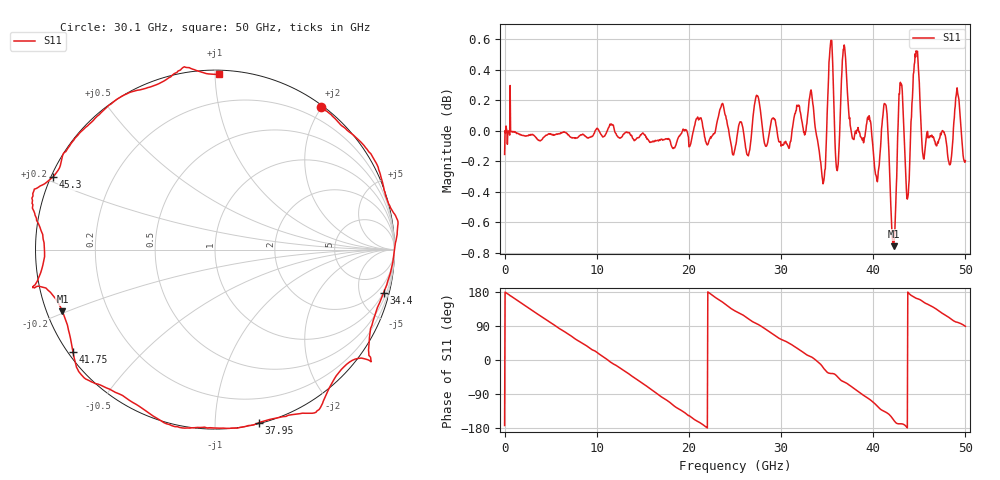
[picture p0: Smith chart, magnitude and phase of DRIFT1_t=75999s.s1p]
!Created with skrf (http://scikit-rf.org).
# Hz S RI R 50.0
!freq ReS11 ImS11
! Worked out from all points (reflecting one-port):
!   1001 points, 300 kHz to 50 GHz, reference 50 ohm
!   lowest |S11| = -0.8 dB at 42.2 GHz (marker M1), VSWR 22.99, Z = 2.26 - j9.71 ohm
!   phase of S11 starts at -173 deg and turns -818 deg over the sweep
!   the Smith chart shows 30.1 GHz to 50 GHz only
!   S11 on the Smith chart (normalised r, x): 30.1 GHz: 0.03, +1.99; 34.4 GHz: 0.97, -7.80; 37.95 GHz: 0.01, -1.28; 41.75 GHz: 0.01, -0.32; 45.3 GHz: 0.01, +0.21; 50 GHz: 0.02, +1.02
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300000  -0.9747 -0.1221
1.450291e9  -0.9126 0.404
3.25028e9  -0.5931 0.8003
6.250262e9  0.1988 0.9786
9.500243e9  0.8874 0.4514
1.250022e10  0.9302 -0.3515
1.580021e10  0.2422 -0.9613
1.73502e10  -0.2111 -0.9707
1.875019e10  -0.5988 -0.7923
2.165017e10  -0.9906 -0.1217
2.345016e10  -0.9304 0.412
2.500015e10  -0.6273 0.7614
2.745014e10  -0.0833 1.023
3.010012e10  0.5905 0.7941
3.125011e10  0.7815 0.6282
3.31501e10  1.013 0.1719
3.440009e10  0.9391 -0.2411
3.520009e10  0.8661 -0.5991
3.750008e10  0.3766 -0.9308
3.795007e10  0.2432 -0.9654
3.960006e10  -0.2402 -0.9812
4.175005e10  -0.7914 -0.5686
4.220005e10  -0.8498 -0.3436
4.290004e10  -1.014 -0.2093
4.375004e10  -0.9509 0.0119
4.530003e10  -0.9016 0.406
4.765001e10  -0.5124 0.8575
5e10  0.0197 0.9775
